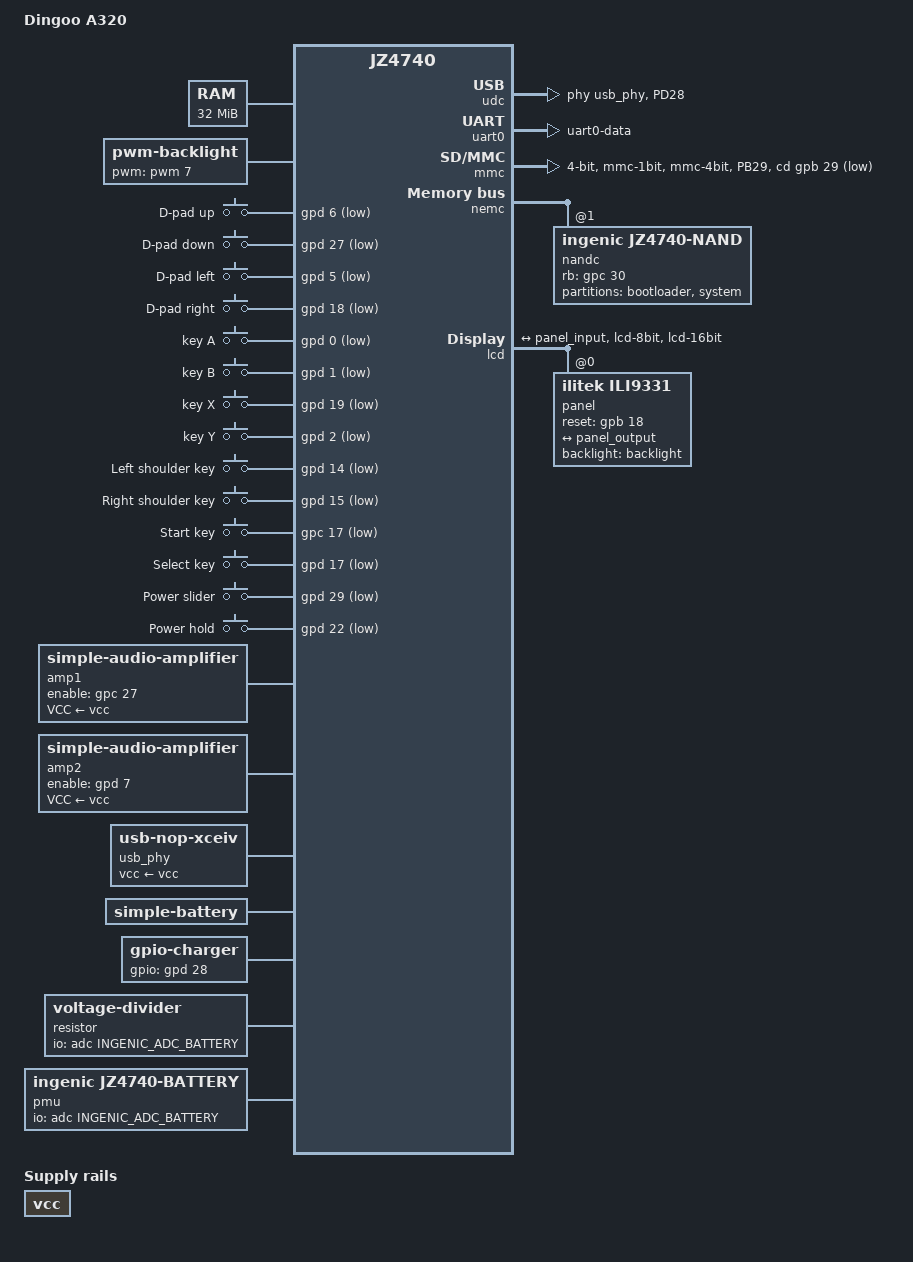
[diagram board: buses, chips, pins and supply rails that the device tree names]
// SPDX-License-Identifier: GPL-2.0
/dts-v1/;

#include "jz4740.dtsi"

#include <dt-bindings/gpio/gpio.h>
#include <dt-bindings/iio/adc/ingenic,adc.h>
#include <dt-bindings/input/input.h>

/ {
	compatible = "dingoo,a320", "ingenic,jz4740";
	model = "Dingoo A320";

	memory {
		device_type = "memory";
		reg = <0x0 0x2000000>;
	};

	reserved-memory {
                #address-cells = <1>;
                #size-cells = <1>;
                ranges;

                vmem: video-memory@1f00000 {
                        compatible = "shared-dma-pool";
                        reg = <0x1f00000 0x100000>;
                        reusable;
                };
        };

	aliases {
		serial0 = &uart0;
	};

	chosen {
		stdout-path = "serial0:57600n8";
	};

	vcc: regulator {
		compatible = "regulator-fixed";

		regulator-name = "vcc";
		regulaor-min-microvolt = <3300000>;
		regulaor-max-microvolt = <3300000>;
		regulator-always-on;
	};

	backlight: backlight {
		compatible = "pwm-backlight";
		pwms = <&pwm 7 5000000 0>;

		brightness-levels = <0 16 32 48 64 80 112 144 192 255>;
		default-brightness-level = <32>;

		pinctrl-names = "default";
		pinctrl-0 = <&pins_pwm7>;
	};

	gpio_keys: keys@0 {
		compatible = "gpio-keys";
		#address-cells = <1>;
		#size-cells = <0>;

		key_0: key@0 {
			label = "D-pad up";
			linux,code = <KEY_UP>;
			gpios = <&gpd 6 GPIO_ACTIVE_LOW>;
		};

		key_1: key@1 {
			label = "D-pad down";
			linux,code = <KEY_DOWN>;
			gpios = <&gpd 27 GPIO_ACTIVE_LOW>;
		};

		key_2: key@2 {
			label = "D-pad left";
			linux,code = <KEY_LEFT>;
			gpios = <&gpd 5 GPIO_ACTIVE_LOW>;
		};

		key_3: key@3 {
			label = "D-pad right";
			linux,code = <KEY_RIGHT>;
			gpios = <&gpd 18 GPIO_ACTIVE_LOW>;
		};

		key_4: key@4 {
			label = "key A";
			linux,code = <KEY_LEFTCTRL>;
			gpios = <&gpd 0 GPIO_ACTIVE_LOW>;
		};

		key_5: key@5 {
			label = "key B";
			linux,code = <KEY_LEFTALT>;
			gpios = <&gpd 1 GPIO_ACTIVE_LOW>;
		};

		key_6: key@6 {
			label = "key X";
			linux,code = <KEY_SPACE>;
			gpios = <&gpd 19 GPIO_ACTIVE_LOW>;
		};

		key_7: key@7 {
			label = "key Y";
			linux,code = <KEY_LEFTSHIFT>;
			gpios = <&gpd 2 GPIO_ACTIVE_LOW>;
		};

		key_8: key@8 {
			label = "Left shoulder key";
			linux,code = <KEY_TAB>;
			gpios = <&gpd 14 GPIO_ACTIVE_LOW>;
			debounce-interval = <5>;
		};

		key_9: key@9 {
			label = "Right shoulder key";
			linux,code = <KEY_BACKSPACE>;
			gpios = <&gpd 15 GPIO_ACTIVE_LOW>;
			debounce-interval = <5>;
		};

		key_10: key@10 {
			label = "Start key";
			linux,code = <KEY_ENTER>;
			gpios = <&gpc 17 GPIO_ACTIVE_LOW>;
			debounce-interval = <5>;
		};

		key_11: key@11 {
			label = "Select key";
			linux,code = <KEY_ESC>;
			gpios = <&gpd 17 GPIO_ACTIVE_LOW>;
			debounce-interval = <5>;
		};

		key12: key@12 {
			label = "Power slider";
			linux,code = <KEY_POWER>;
			gpios = <&gpd 29 GPIO_ACTIVE_LOW>;
		};

		key13: key@13 {
			label = "Power hold";
			linux,code = <KEY_PAUSE>;
			gpios = <&gpd 22 GPIO_ACTIVE_LOW>;
		};
	};
		
	amp1: analog-amplifier@0 {
		compatible = "simple-audio-amplifier";
		enable-gpios = <&gpc 27 GPIO_ACTIVE_HIGH>;
		sound-name-prefix = "Speaker Amp";

		VCC-supply = <&vcc>;
	};

	amp2: analog-amplifier@1 {
		compatible = "simple-audio-amplifier";
		enable-gpios = <&gpd 7 GPIO_ACTIVE_HIGH>;
		sound-name-prefix = "Line Amp";

		VCC-supply = <&vcc>;
	};

	sound_card: sound {
		compatible = "simple-audio-card";

		simple-audio-card,name = "Dingoo A320";
		simple-audio-card,format = "i2s";

		simple-audio-card,widgets =
			"Speaker", "Speaker",
			"Headphone", "Headphones";
		simple-audio-card,routing =
			"Speaker Amp INL", "LOUT",
			"Speaker Amp INR", "ROUT",
			"Line Amp INL", "LOUT",
			"Line Amp INR", "ROUT",
			"Headphones", "Line Amp OUTL",
			"Headphones", "Line Amp OUTR",
			"Speaker", "Speaker Amp OUTL",
			"Speaker", "Speaker Amp OUTR";
		simple-audio-card,pin-switches = "Speaker", "Headphones";

		simple-audio-card,aux-devs = <&amp1>, <&amp2>;

		simple-audio-card,bitclock-master = <&dai_codec>;
		simple-audio-card,frame-master = <&dai_codec>;

			dai_cpu: simple-audio-card,cpu {
				sound-dai = <&aic>;
			};

			dai_codec: simple-audio-card,codec {
				sound-dai = <&codec>;
			};
	};

	usb_phy: usb-phy {
		compatible = "usb-nop-xceiv";
		#phy-cells = <0>;

		vcc-supply = <&vcc>;
	};

	battery: battery {
		compatible = "simple-battery";
		voltage-min-design-microvolt = <3600000>;
		voltage-max-design-microvolt = <4200000>;
	};

	charger: charger {
		compatible = "gpio-charger";
		gpios = <&gpd 28 GPIO_ACTIVE_HIGH>;
		charger-type = "usb-sdp";
	};

	resistor: resistor {
		compatible = "voltage-divider";
		#io-channel-cells = <0>;

		output-ohms = <1125>;
		full-ohms = <3900>;

		io-channels = <&adc INGENIC_ADC_BATTERY>;
	};

	pmu: pmu {
		compatible = "ingenic,jz4740-battery";
		io-channels = <&adc INGENIC_ADC_BATTERY>;
		io-channel-names = "battery";
		monitored-battery = <&battery>;
		power-supplies = <&charger>;
	};

	amp1: analog-amplifier@0 {
		compatible = "simple-audio-amplifier";
		enable-gpios = <&gpc 27 GPIO_ACTIVE_HIGH>;
		sound-name-prefix = "Speaker Amp";
		VCC-supply = <&vcc>;
	};

	amp2: analog-amplifier@1 {
		compatible = "simple-audio-amplifier";
		enable-gpios = <&gpd 7 GPIO_ACTIVE_HIGH>;
		sound-name-prefix = "Line Amp";
		VCC-supply = <&vcc>;
	};

	cpu_opp_table: opp-table {
		compatible = "operating-points-v2";

		opp-216000000 { opp-hz = /bits/ 64 <216000000>; };
		opp-300000000 { opp-hz = /bits/ 64 <300000000>; };
		opp-336000000 { opp-hz = /bits/ 64 <336000000>; };
		opp-360000000 { opp-hz = /bits/ 64 <360000000>; };
		opp-378000000 { opp-hz = /bits/ 64 <378000000>; };
		opp-396000000 { opp-hz = /bits/ 64 <396000000>; };
		opp-420000000 { opp-hz = /bits/ 64 <420000000>; };
		opp-438000000 { opp-hz = /bits/ 64 <438000000>; };
		opp-456000000 { opp-hz = /bits/ 64 <456000000>; };
	};
};

&ext {
	clock-frequency = <12000000>;
};

&rtc_dev {
	system-power-controller;
};

&udc {
	pinctrl-names = "default";
	pinctrl-0 = <&pins_udc>;
	phys = <&usb_phy>;
};

&uart0 {
	pinctrl-names = "default";
	pinctrl-0 = <&pins_uart0>;
};

&pinctrl {
	pins_uart0: uart0 {
		function = "uart0";
		groups = "uart0-data";
		bias-disable;
	};

	pins_mmc: mmc {
		mmc {
			function = "mmc";
			groups = "mmc-1bit", "mmc-4bit";
			bias-disable;
		};

		mmc-gpios {
			pins = "PB29";
			bias-disable;
		};
	};

	pins_nemc: nemc {
		function = "nand";
		groups = "nand-cs1";
	};

	pins_pwm7: pwm7 {
		function = "pwm7";
		groups = "pwm7";
		bias-disable;
	};

	pins_udc: udc {
		pins = "PD28";
	bias-disable;
	};

	pins_lcd: lcd {
		function = "lcd";
		groups = "lcd-8bit", "lcd-16bit";
	};
};

&mmc {
	bus-width = <4>;
	max-frequency = <48000000>;

	pinctrl-names = "default";
	pinctrl-0 = <&pins_mmc>;

	cd-gpios = <&gpb 29 GPIO_ACTIVE_LOW>;
};

&uart0 {
	pinctrl-names = "default";
	pinctrl-0 = <&pins_uart0>;
};

&nemc {
	nandc: nand-controller@1 {
		compatible = "ingenic,jz4740-nand";
		reg = <1 0 0x4000000>;

		#address-cells = <1>;
		#size-cells = <0>;

		ecc-engine = <&ecc>;

		ingenic,nemc-tAS = <10>;
		ingenic,nemc-tAH = <5>;
		ingenic,nemc-tBP = <10>;
		ingenic,nemc-tAW = <15>;
		ingenic,nemc-tSTRV = <100>;

		pinctrl-names = "default";
		pinctrl-0 = <&pins_nemc>;

		rb-gpios = <&gpc 30 GPIO_ACTIVE_HIGH>;

		nand@1 {
			reg = <1>;

			nand-ecc-step-size = <512>;
			nand-ecc-strength = <4>;
			nand-ecc-mode = "hw";
			nand-is-boot-medium;
			nand-on-flash-bbt;

			partitions {
				compatible = "fixed-partitions";
				#address-cells = <1>;
				#size-cells = <1>;

				partition@0 {
					label = "bootloader";
					reg = <0x0 0x20000>;
				};

				partition@20000 {
					label = "system";
					reg = <0x20000 0x0>;
				};
			};
		};
	};
};

&tcu {
	assigned-clocks = <&tcu TCU_CLK_TIMER0>, <&tcu TCU_CLK_TIMER1>, <&tcu TCU_CLK_WDT>;
	assigned-clock-parents = <0>, <0>, <&cgu JZ4740_CLK_RTC>;
	assigned-clock-rates = <750000>, <750000>;
};

&lcd {
	memory-region = <&vmem>;
	pinctrl-names = "default";
	pinctrl-0 = <&pins_lcd>;

	#address-cells = <1>;
	#size-cells = <0>;

	dmas = <&dmac 30 0xffffffff>;
	dma-names = "slcd";

	panel@0 {
		compatible = "ilitek,ili9331";
		reg = <0>;

		backlight = <&backlight>;
		reset-gpios = <&gpb 18 GPIO_ACTIVE_HIGH>;
		cs-gpios = <&gpb 17 GPIO_ACTIVE_HIGH>;

		port {
			panel_input: endpoint {
				remote-endpoint = <&panel_output>;
			};
		};

	};
	
	port {
		panel_output: endpoint {
			remote-endpoint = <&panel_input>;
		};
	};
};

/*
&lcd_ports {
	port@0 {
		reg = <0>;

		panel_output: endpoint {
			remote-endpoint = <&panel_input>;
		};
	};
};
*/

&cpu0 {
	operating-points-v2 = <&cpu_opp_table>;

	/* We use the main PLL as the CPU clock for the cpufreq driver. */
	clocks = <&cgu JZ4740_CLK_PLL>;
};
